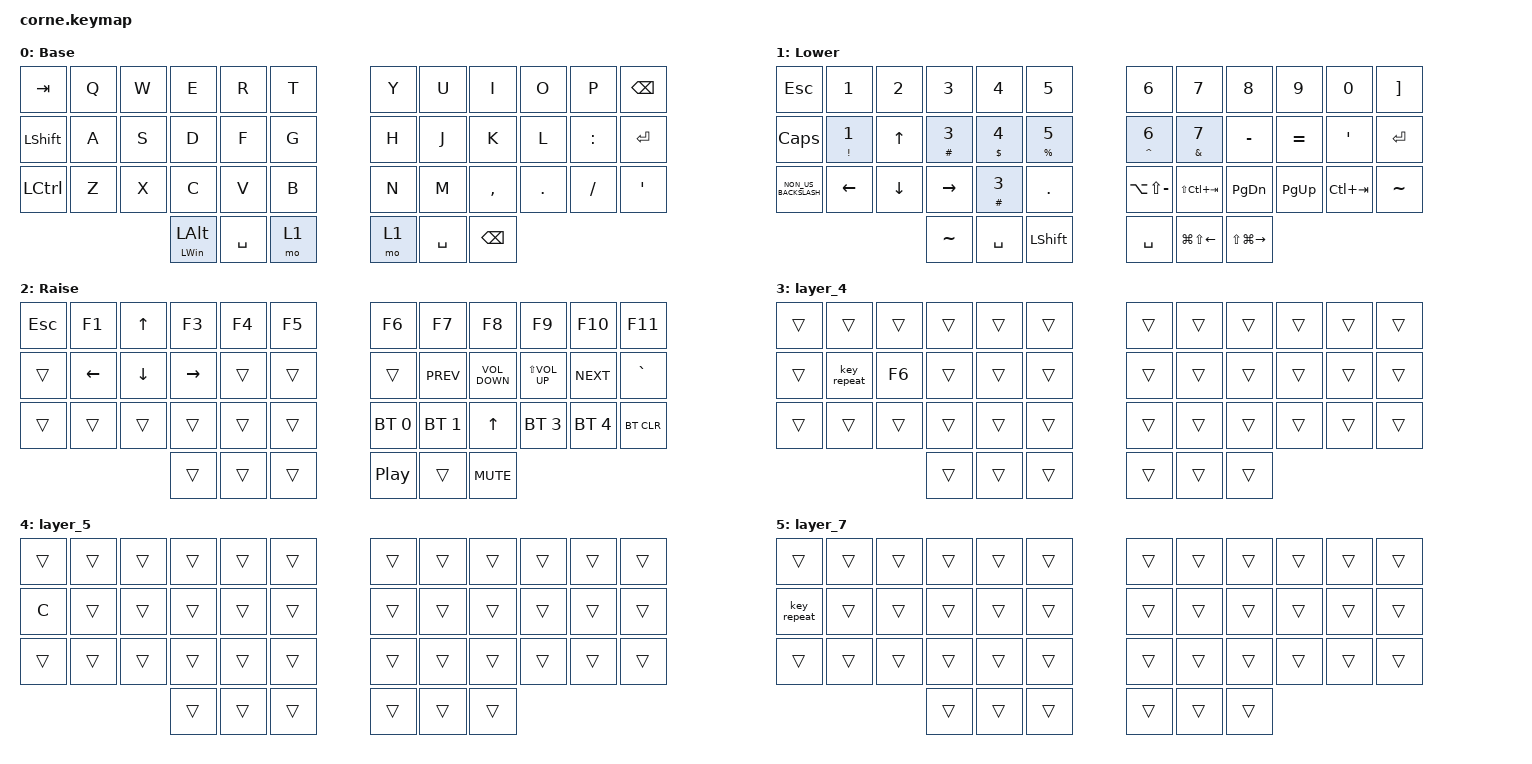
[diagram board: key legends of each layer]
/*
 * Copyright (c) 2020 The ZMK Contributors
 *
 * SPDX-License-Identifier: MIT
 */

#include <behaviors.dtsi>
#include <dt-bindings/zmk/bt.h>
#include <dt-bindings/zmk/keys.h>

/ {
    behaviors {
        HMR: HMR {
            compatible = "zmk,behavior-hold-tap";
            label = "HMR";
            bindings = <&kp>, <&kp>;

            #binding-cells = <2>;
            tapping-term-ms = <280>;
            quick-tap-ms = <175>;
            flavor = "tap-preferred";
            hold-trigger-key-positions = <0 1 2 3 4 5 12 13 14 15 16 17 24 25 26 27 28 29 36 37 38 39 40 41>;
            hold-trigger-on-release;
        };

        HML: HML {
            compatible = "zmk,behavior-hold-tap";
            label = "HML";
            bindings = <&kp>, <&kp>;

            #binding-cells = <2>;
            tapping-term-ms = <280>;
            quick-tap-ms = <175>;
            flavor = "tap-preferred";
            hold-trigger-on-release;
            hold-trigger-key-positions = <36 37 38 6 7 8 9 10 11 18 19 20 21 22 23 30 31 32 33 34 35 39 40 41>;
        };
    };

    combos {
        compatible = "zmk,combos";

        af {
            bindings = <&kp LC(C)>;
            key-positions = <13 16>;
        };

        ad {
            bindings = <&kp LC(V)>;
            key-positions = <13 15>;
        };

        fa {
            bindings = <&kp BACKSPACE>;
            key-positions = <13 14 16 15>;
        };
    };

    keymap {
        compatible = "zmk,keymap";

        default_layer {
            // -----------------------------------------------------------------------------------------
            // |  TAB |  Q  |  W  |  E  |  R  |  T  |   |  Y  |  U   |  I  |  O  |  P  | BKSP |
            // | CTRL |  A  |  S  |  D  |  F  |  G  |   |  H  |  J   |  K  |  L  |  ;  |  '   |
            // | SHFT |  Z  |  X  |  C  |  V  |  B  |   |  N  |  M   |  ,  |  .  |  /  | ESC  |
            //                    | GUI | LWR | SPC |   | ENT | RSE  | ALT |

            display-name = "Base";
            bindings = <
&kp TAB           &kp Q  &kp W  &kp E                   &kp R      &kp T    &kp Y  &kp U      &kp I          &kp O    &kp P      &kp BSPC
&kp LEFT_SHIFT    &kp A  &kp S  &kp D                   &kp F      &kp G    &kp H  &kp J      &kp K          &kp L    &kp COLON  &kp ENTER
&kp LEFT_CONTROL  &kp Z  &kp X  &kp C                   &kp V      &kp B    &kp N  &kp M      &kp COMMA      &kp DOT  &kp FSLH   &kp SINGLE_QUOTE
                                &HML LEFT_WIN LEFT_ALT  &kp SPACE  &mo 1    &mo 1  &kp SPACE  &kp BACKSPACE
            >;
        };

        lower_layer {
            // -----------------------------------------------------------------------------------------
            // |  TAB |  1  |  2  |  3  |  4  |  5  |   |  6  |  7  |  8  |  9  |  0  | BKSP |
            // | BTCLR| BT1 | BT2 | BT3 | BT4 | BT5 |   | LFT | DWN |  UP | RGT |     |      |
            // | SHFT |     |     |     |     |     |   |     |     |     |     |     |      |
            //                    | GUI |     | SPC |   | ENT |     | ALT |

            display-name = "Lower";
            bindings = <
&kp ESCAPE            &kp NUMBER_1               &kp NUMBER_2    &kp NUMBER_3        &kp NUMBER_4         &kp N5            &kp NUMBER_6        &kp N7            &kp N8             &kp N9     &kp N0       &kp RIGHT_BRACKET
&kp CAPS              &HML EXCLAMATION NUMBER_1  &kp UP_ARROW    &HML HASH NUMBER_3  &mt DOLLAR NUMBER_4  &mt PERCENT N5    &mt CARET NUMBER_6  &mt AMPERSAND N7  &kp MINUS          &kp EQUAL  &kp SQT      &kp ENTER
&kp NON_US_BACKSLASH  &kp LEFT_ARROW             &kp DOWN_ARROW  &kp RIGHT_ARROW     &mt HASH NUMBER_3    &kp PERIOD        &kp LA(LS(MINUS))   &kp LS(LC(TAB))   &kp PAGE_DOWN      &kp PG_UP  &kp LC(TAB)  &kp TILDE
                                                                 &kp TILDE           &kp SPACE            &kp LEFT_SHIFT    &kp SPACE           &kp LG(LS(LEFT))  &kp LS(LG(RIGHT))
            >;
        };

        raise_layer {
            // -----------------------------------------------------------------------------------------
            // |  TAB |  !  |  @  |  #  |  $  |  %  |   |  ^  |  &  |  *  |  (  |  )  | BKSP |
            // | CTRL |     |     |     |     |     |   |  -  |  =  |  [  |  ]  |  \  |  `   |
            // | SHFT |     |     |     |     |     |   |  _  |  +  |  {  |  }  | "|" |  ~   |
            //                    | GUI |     | SPC |   | ENT |     | ALT |

            display-name = "Raise";
            bindings = <
&kp ESC  &kp F1          &kp UP_ARROW  &kp F3           &kp F4  &kp F5    &kp F6            &kp F7        &kp F8             &kp F9            &kp F10       &kp F11
&trans   &kp LEFT_ARROW  &kp DOWN      &kp RIGHT_ARROW  &trans  &trans    &trans            &kp C_PREV    &kp K_VOLUME_DOWN  &kp LS(K_VOL_UP)  &kp C_NEXT    &kp GRAVE
&trans   &trans          &trans        &trans           &trans  &trans    &bt BT_SEL 0      &bt BT_SEL 1  &kp UP_ARROW       &bt BT_SEL 3      &bt BT_SEL 4  &bt BT_CLR
                                       &trans           &trans  &trans    &kp C_PLAY_PAUSE  &trans        &kp C_MUTE
            >;
        };

        layer_4 {
            bindings = <
&trans  &trans       &trans  &trans  &trans  &trans    &trans  &trans  &trans  &trans  &trans  &trans
&trans  &key_repeat  &kp F6  &trans  &trans  &trans    &trans  &trans  &trans  &trans  &trans  &trans
&trans  &trans       &trans  &trans  &trans  &trans    &trans  &trans  &trans  &trans  &trans  &trans
                             &trans  &trans  &trans    &trans  &trans  &trans
            >;
        };

        layer_5 {
            bindings = <
&trans  &trans  &trans  &trans  &trans  &trans    &trans  &trans  &trans  &trans  &trans  &trans
&kp C   &trans  &trans  &trans  &trans  &trans    &trans  &trans  &trans  &trans  &trans  &trans
&trans  &trans  &trans  &trans  &trans  &trans    &trans  &trans  &trans  &trans  &trans  &trans
                        &trans  &trans  &trans    &trans  &trans  &trans
            >;
        };

        layer_7 {
            bindings = <
&trans       &trans  &trans  &trans  &trans  &trans    &trans  &trans  &trans  &trans  &trans  &trans
&key_repeat  &trans  &trans  &trans  &trans  &trans    &trans  &trans  &trans  &trans  &trans  &trans
&trans       &trans  &trans  &trans  &trans  &trans    &trans  &trans  &trans  &trans  &trans  &trans
                             &trans  &trans  &trans    &trans  &trans  &trans
            >;
        };
    };
};
